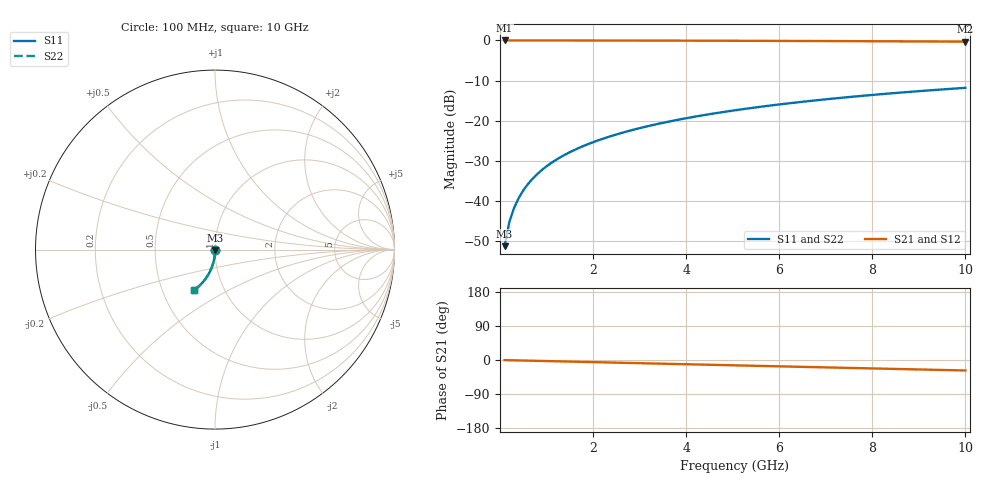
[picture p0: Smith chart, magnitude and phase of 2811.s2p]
# Hz S RI R 50.00
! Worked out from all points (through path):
!   100 points, 100 MHz to 10 GHz, reference 50 ohm
!   highest |S21| = 0.00 dB at 100 MHz (marker M1); lowest = -0.3 dB at 10 GHz (marker M2)
!   group delay of S21, straight-line fit = 7.69 ps
!   lowest |S11| = -51.3 dB at 100 MHz (marker M3), VSWR 1.01, Z = 50 - j0.27 ohm
!   |S11| at or under -10 dB: start of sweep to end of sweep
!   |S22| runs from -51.3 to -11.8 dB; largest |S21 - S12| = 0
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1e8  0.000397 -0.0027  0.9996 -0.00488  0.9996 -0.00488  0.000397 -0.0027
2e8  0.000357 -0.0054  0.9995 -0.00976  0.9995 -0.00976  0.000357 -0.0054
3e8  0.00029 -0.0081  0.9994 -0.0146  0.9994 -0.0146  0.00029 -0.0081
4e8  0.000195 -0.0108  0.9993 -0.0195  0.9993 -0.0195  0.000195 -0.0108
5e8  7.46e-05 -0.0135  0.9992 -0.0244  0.9992 -0.0244  7.46e-05 -0.0135
6e8  -7.26e-05 -0.0162  0.999 -0.0293  0.999 -0.0293  -7.26e-05 -0.0162
7e8  -0.000246 -0.0189  0.9988 -0.0342  0.9988 -0.0342  -0.000246 -0.0189
8e8  -0.000446 -0.0216  0.9985 -0.039  0.9985 -0.039  -0.000446 -0.0216
9e8  -0.000673 -0.0243  0.9983 -0.0439  0.9983 -0.0439  -0.000673 -0.0243
1.1e9  -0.0012 -0.0296  0.9976 -0.0537  0.9976 -0.0537  -0.0012 -0.0296
1.4e9  -0.0022 -0.0377  0.9965 -0.0682  0.9965 -0.0682  -0.0022 -0.0377
1.8e9  -0.00389 -0.0484  0.9945 -0.0877  0.9945 -0.0877  -0.00389 -0.0484
2.1e9  -0.00543 -0.0563  0.9926 -0.1022  0.9926 -0.1022  -0.00543 -0.0563
2.5e9  -0.00785 -0.0668  0.9898 -0.1215  0.9898 -0.1215  -0.00785 -0.0668
2.9e9  -0.0107 -0.0773  0.9864 -0.1407  0.9864 -0.1407  -0.0107 -0.0773
3.4e9  -0.0148 -0.0901  0.9816 -0.1645  0.9816 -0.1645  -0.0148 -0.0901
4.2e9  -0.0226 -0.1102  0.9722 -0.2021  0.9722 -0.2021  -0.0226 -0.1102
5.1e9  -0.0332 -0.1319  0.9596 -0.2437  0.9596 -0.2437  -0.0332 -0.1319
5.9e9  -0.0442 -0.1504  0.9465 -0.2798  0.9465 -0.2798  -0.0442 -0.1504
6.7e9  -0.0565 -0.1678  0.9317 -0.3149  0.9317 -0.3149  -0.0565 -0.1678
8.4e9  -0.0865 -0.2011  0.8952 -0.3861  0.8952 -0.3861  -0.0865 -0.2011
1e10  -0.1189 -0.2273  0.8554 -0.4482  0.8554 -0.4482  -0.1189 -0.2273
